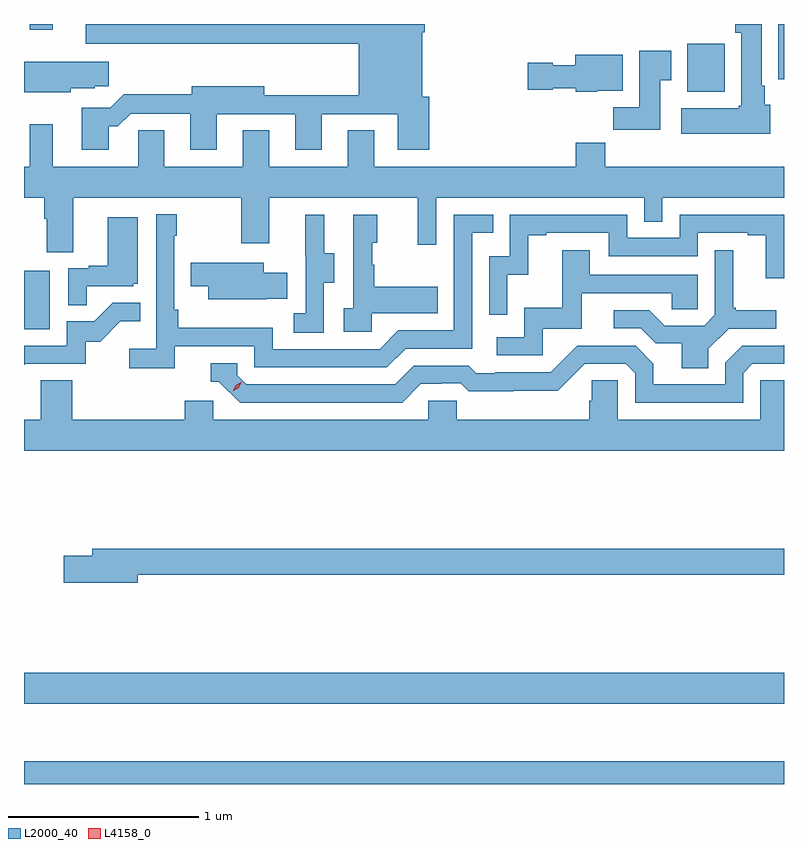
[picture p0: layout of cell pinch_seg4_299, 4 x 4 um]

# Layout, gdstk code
import gdstk
lib = gdstk.Library(unit=1e-6, precision=1e-09)
def R(c, l, rs):  # rectangles x0, y0, x1, y1
    for r in rs: c.add(gdstk.rectangle(r[:2], r[2:], *l))
def P(c, l, *ps):  # polygons
    for p in ps: c.add(gdstk.Polygon(p, *l))
L2000_40 = (2000, 40)
L4158_0 = (4158, 0)

pinch_seg4_299 = lib.new_cell('pinch_seg4_299')
R(pinch_seg4_299, L2000_40, [(948.564,797.73,952.564,797.851), (948.564,798.152,952.564,798.316), (948.564,800.124,948.7,800.431), (952.055,801.374,952.251,801.625), (952.535,801.44,952.564,801.73), (948.594,801.699,948.715,801.73)])
P(pinch_seg4_299, L2000_40, [(949.009,801.191),(949.058,801.191),(949.125,801.258),(949.439,801.258),(949.439,801.069),(949.579,801.069),(949.579,801.255),(949.991,801.255),(949.991,801.069),(950.131,801.069),(950.131,801.255),(950.531,801.255),(950.531,801.069),(950.696,801.069),(950.696,801.348),(950.659,801.348),(950.659,801.686),(950.672,801.686),(950.672,801.73),(948.89,801.73),(948.89,801.626),(950.327,801.626),(950.327,801.356),(949.828,801.356),(949.828,801.403),(949.448,801.403),(949.448,801.359),(949.088,801.359),(949.017,801.288),(948.869,801.288),(948.869,801.069),(949.009,801.069)],
  [(952.492,801.306),(952.462,801.306),(952.462,801.406),(952.447,801.406),(952.447,801.73),(952.307,801.73),(952.307,801.683),(952.34,801.683),(952.34,801.3),(952.327,801.3),(952.327,801.286),(952.023,801.286),(952.023,801.152),(952.492,801.152)],
  [(951.913,801.433),(951.97,801.433),(951.97,801.589),(951.803,801.589),(951.803,801.292),(951.664,801.292),(951.664,801.174),(951.913,801.174)],
  [(951.582,801.38),(951.715,801.38),(951.715,801.568),(951.464,801.568),(951.464,801.514),(951.348,801.514),(951.348,801.527),(951.216,801.527),(951.216,801.385),(951.348,801.385),(951.348,801.392),(951.468,801.392),(951.468,801.374),(951.582,801.374)],
  [(948.81,801.392),(948.936,801.392),(948.936,801.403),(949.009,801.403),(949.009,801.532),(948.564,801.532),(948.564,801.371),(948.81,801.371)],
  [(949.708,800.577),(949.855,800.577),(949.855,800.816),(950.636,800.816),(950.636,800.568),(950.733,800.568),(950.733,800.816),(951.828,800.816),(951.828,800.689),(951.924,800.689),(951.924,800.816),(952.564,800.816),(952.564,800.98),(951.623,800.98),(951.623,801.104),(951.467,801.104),(951.467,800.98),(950.407,800.98),(950.407,801.17),(950.267,801.17),(950.267,800.98),(949.855,800.98),(949.855,801.17),(949.715,801.17),(949.715,800.98),(949.303,800.98),(949.303,801.17),(949.164,801.17),(949.164,800.98),(948.715,800.98),(948.715,801.202),(948.594,801.202),(948.594,800.98),(948.564,800.98),(948.564,800.816),(948.671,800.816),(948.671,800.704),(948.683,800.704),(948.683,800.53),(948.823,800.53),(948.823,800.816),(949.708,800.816)],
  [(949.358,800.034),(949.776,800.034),(949.776,799.923),(950.473,799.923),(950.572,800.022),(950.922,800.022),(950.922,800.631),(951.035,800.631),(951.035,800.727),(950.826,800.727),(950.826,800.118),(950.535,800.118),(950.436,800.019),(949.872,800.019),(949.872,800.131),(949.376,800.131),(949.376,800.227),(949.356,800.227),(949.356,800.615),(949.369,800.615),(949.369,800.728),(949.26,800.728),(949.26,800.02),(949.119,800.02),(949.119,799.918),(949.358,799.918)],
  [(951.108,800.411),(951.218,800.411),(951.218,800.619),(951.313,800.619),(951.313,800.631),(951.642,800.631),(951.642,800.508),(952.11,800.508),(952.11,800.631),(952.373,800.631),(952.373,800.619),(952.469,800.619),(952.469,800.393),(952.564,800.393),(952.564,800.727),(952.014,800.727),(952.014,800.604),(951.738,800.604),(951.738,800.727),(951.12,800.727),(951.12,800.508),(951.012,800.508),(951.012,800.199),(951.108,800.199)],
  [(950.394,800.207),(950.741,800.207),(950.741,800.347),(950.407,800.347),(950.407,800.462),(950.397,800.462),(950.397,800.58),(950.422,800.58),(950.422,800.725),(950.298,800.725),(950.298,800.234),(950.247,800.234),(950.247,800.109),(950.394,800.109)],
  [(950.142,800.368),(950.197,800.368),(950.197,800.523),(950.143,800.523),(950.143,800.725),(950.045,800.725),(950.045,800.511),(950.046,800.511),(950.046,800.207),(949.983,800.207),(949.983,800.104),(950.142,800.104)],
  [(948.893,800.349),(949.14,800.349),(949.14,800.364),(949.162,800.364),(949.162,800.713),(949.004,800.713),(949.004,800.458),(948.905,800.458),(948.905,800.445),(948.798,800.445),(948.798,800.251),(948.893,800.251)],
  [(952.165,800.02),(952.272,800.127),(952.522,800.127),(952.522,800.224),(952.309,800.224),(952.309,800.236),(952.297,800.236),(952.297,800.539),(952.2,800.539),(952.2,800.199),(952.143,800.142),(951.937,800.142),(951.856,800.223),(951.669,800.223),(951.669,800.13),(951.81,800.13),(951.89,800.05),(952.025,800.05),(952.025,799.918),(952.165,799.918)],
  [(951.294,800.127),(951.499,800.127),(951.499,800.313),(951.973,800.313),(951.973,800.229),(952.11,800.229),(952.11,800.409),(951.541,800.409),(951.541,800.539),(951.397,800.539),(951.397,800.236),(951.198,800.236),(951.198,800.082),(951.051,800.082),(951.051,799.986),(951.294,799.986)],
  [(949.841,800.285),(949.949,800.285),(949.949,800.422),(949.825,800.422),(949.825,800.473),(949.441,800.473),(949.441,800.351),(949.535,800.351),(949.535,800.282),(949.841,800.282)],
  [(948.569,799.941),(948.888,799.941),(948.888,800.058),(948.964,800.058),(949.071,800.165),(949.175,800.165),(949.175,800.264),(949.031,800.264),(948.933,800.166),(948.789,800.166),(948.789,800.037),(948.564,800.037),(948.564,799.936),(948.569,799.936)],
  [(950.653,799.836),(950.76,799.836),(950.76,799.839),(950.863,799.839),(950.905,799.797),(951.138,799.797),(951.138,799.799),(951.374,799.799),(951.516,799.941),(951.732,799.941),(951.78,799.893),(951.78,799.737),(952.35,799.737),(952.35,799.893),(952.398,799.941),(952.564,799.941),(952.564,800.039),(952.56,800.039),(952.56,800.037),(952.344,800.037),(952.254,799.947),(952.254,799.833),(951.877,799.833),(951.877,799.943),(951.783,800.037),(951.477,800.037),(951.336,799.896),(951.043,799.896),(951.043,799.893),(950.944,799.893),(950.905,799.932),(950.616,799.932),(950.517,799.833),(949.734,799.833),(949.686,799.881),(949.686,799.944),(949.547,799.944),(949.547,799.848),(949.59,799.848),(949.701,799.737),(950.554,799.737)],
  [(952.564,799.856),(952.44,799.856),(952.44,799.648),(951.69,799.648),(951.69,799.856),(951.553,799.856),(951.553,799.746),(951.539,799.746),(951.539,799.648),(950.841,799.648),(950.841,799.746),(950.691,799.746),(950.691,799.648),(949.56,799.648),(949.56,799.746),(949.409,799.746),(949.409,799.648),(948.818,799.648),(948.818,799.856),(948.653,799.856),(948.653,799.648),(948.564,799.648),(948.564,799.484),(952.564,799.484)],
  [(949.162,798.832),(952.564,798.832),(952.564,798.968),(948.923,798.968),(948.923,798.932),(948.774,798.932),(948.774,798.79),(949.162,798.79)])
P(pinch_seg4_299, L4158_0, [(949.662,799.796),(949.662,799.796),(949.678,799.828),(949.709,799.848),(949.709,799.848),(949.709,799.848),(949.693,799.815),(949.662,799.796)])

lib.write_gds('pinch_seg4_299.gds')
